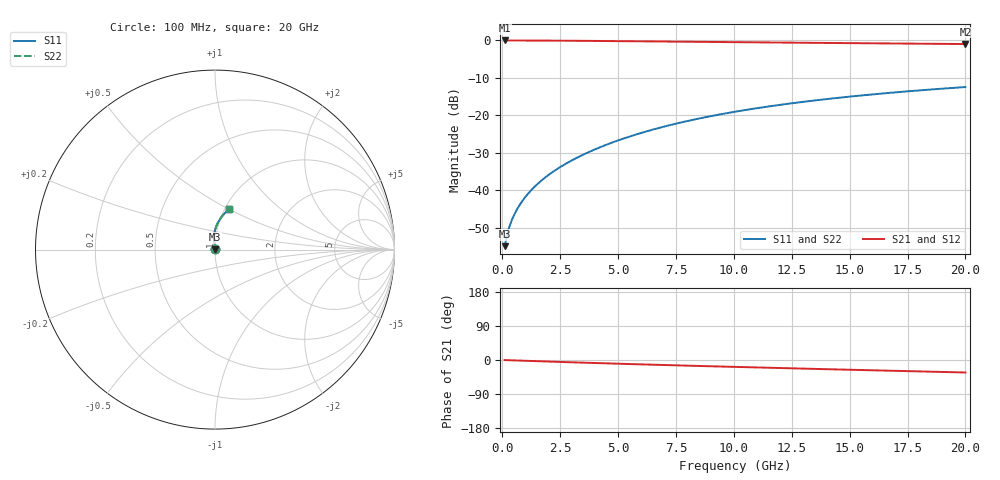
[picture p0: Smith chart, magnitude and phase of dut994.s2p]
! Touchstone file exported from HFSS 2024.1.0
!  File:  C:/UserFiles/LocalFiles/RDL_TSV_Batchsim/temp_RDL_top_994_1779939766.aedt
!  Generated:  11:44:50 AM May 28, 2026
!  Design:  RDL_top
!  Project:  temp_RDL_top_994_1779939766
!  Setup:  Setup1
!  Solution:  Sweep
! Variables:
!  dtsv = 10.80580581um
!  hbump = 3um
!  htsv = 88.69um
!  ldown = 100um
!  lrdl = 506.56um
!  p = 40
!  p1 = 50.32um
!  rhole = 1um
!  t = 450um
!  tdown = 3.915915916um
!  trdl = 4.71um
!  wdown = 15.38538539um
!  wrdl = 29.82um
# GHz S MA R 50.000000
! Terminal data exported
! Port[1] = Box2_T1
! Port[2] = Box2_T2
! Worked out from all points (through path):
!   200 points, 100 MHz to 20 GHz, reference 50 ohm
!   highest |S21| = -0.01 dB at 100 MHz (marker M1); lowest = -1.0 dB at 20 GHz (marker M2)
!   group delay of S21, straight-line fit = 4.5 ps
!   lowest |S11| = -54.9 dB at 100 MHz (marker M3), VSWR 1.00, Z = 50.2 + j0.0986 ohm
!   |S11| at or under -10 dB: start of sweep to end of sweep
!   |S22| runs from -54.9 to -12.4 dB; largest |S21 - S12| = 6.3e-15
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0.1  0.001802 33.0  0.9985 -0.2  0.9985 -0.2  0.001802 33.0
! Gamma 0 0 0 0
! Port Impedance 50 0 50 0
0.2  0.002498 49.1  0.9983 -0.4  0.9983 -0.4  0.002498 49.1
0.3  0.00323 57.0  0.9981 -0.6  0.9981 -0.6  0.00323 57.0
0.4  0.00394 62.1  0.9979 -0.8  0.9979 -0.8  0.00394 62.1
0.5  0.004636 65.9  0.9978 -1.1  0.9978 -1.1  0.004635 65.9
0.6  0.00533 69.0  0.9976 -1.3  0.9976 -1.3  0.005329 69.0
0.8  0.006739 74.0  0.9973 -1.7  0.9973 -1.7  0.006739 74.0
1.1  0.008934 79.2  0.9967 -2.3  0.9967 -2.3  0.008933 79.2
1.6  0.01281 84.9  0.9954 -3.3  0.9954 -3.3  0.01281 84.9
2.1  0.01695 88.5  0.9937 -4.3  0.9937 -4.3  0.01694 88.5
2.7  0.02227 91.5  0.9911 -5.5  0.9911 -5.5  0.02227 91.4
3.5  0.03 93.9  0.9871 -7.0  0.9871 -7.0  0.02999 93.9
4.2  0.03734 95.0  0.9831 -8.4  0.9831 -8.4  0.03733 95.0
5  0.04634 95.5  0.9783 -9.8  0.9783 -9.8  0.04632 95.5
5.9  0.05713 95.4  0.9726 -11.4  0.9726 -11.4  0.05711 95.3
6.8  0.06847 94.6  0.9668 -13.0  0.9668 -13.0  0.06844 94.6
8.4  0.08955 92.4  0.9568 -15.6  0.9568 -15.6  0.08951 92.4
10.1  0.1126 89.4  0.9465 -18.3  0.9465 -18.3  0.1125 89.4
11.7  0.1343 86.3  0.9374 -20.8  0.9374 -20.8  0.1342 86.3
13.4  0.157 83.0  0.9281 -23.4  0.9281 -23.4  0.1569 82.9
16.7  0.1994 76.6  0.9109 -28.2  0.9109 -28.2  0.1993 76.5
20  0.2388 70.5  0.8943 -33.0  0.8943 -33.0  0.2387 70.5
